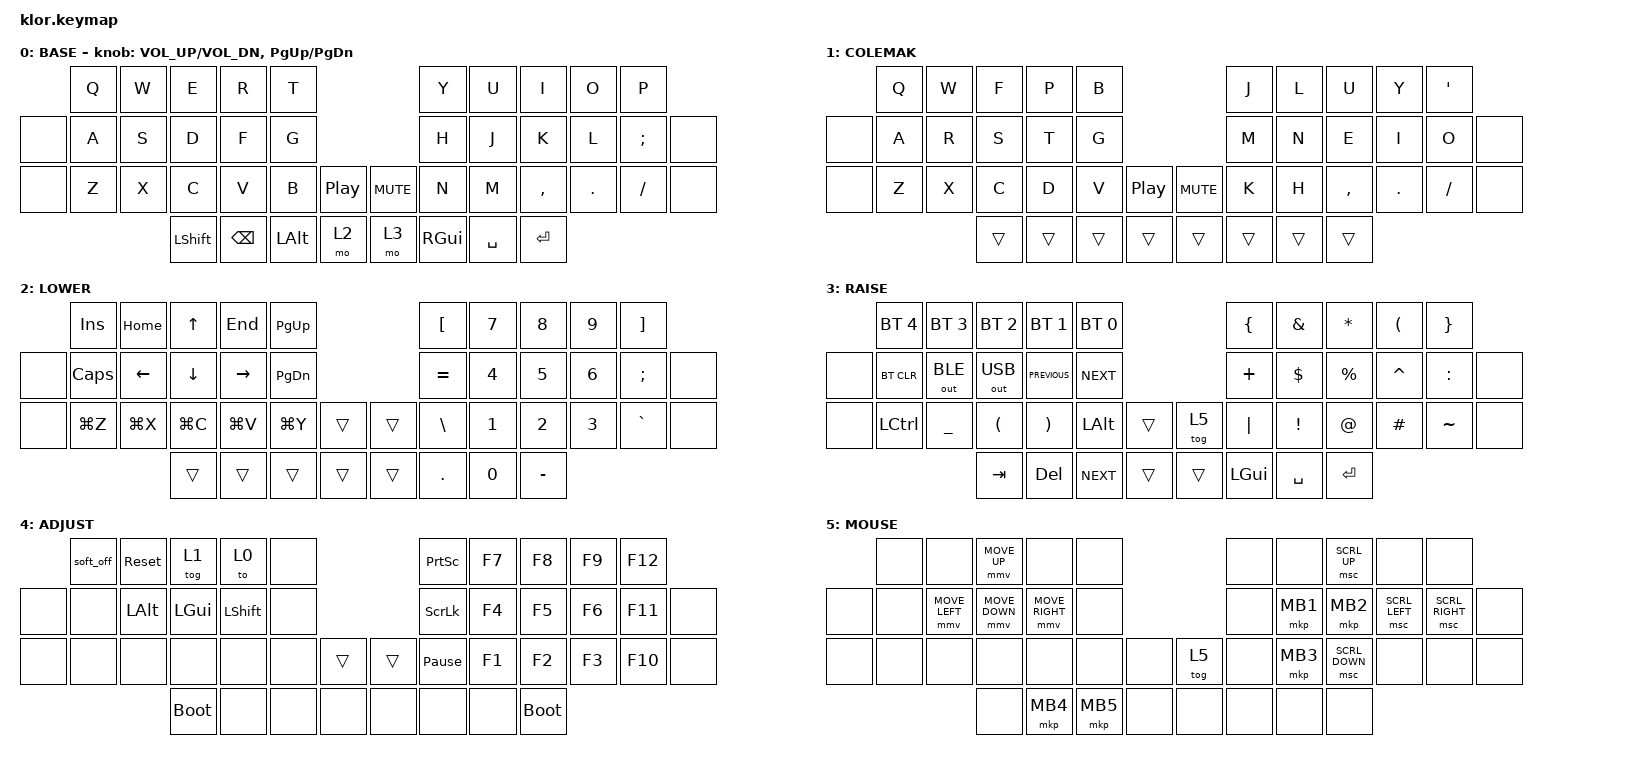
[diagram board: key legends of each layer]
//                               █         █    █            ▄▄▄▀▀▀▀▀▀▄▄▄        █▀▀▀▀▀▀▀▀▀▀█
//                               █        █     █          ▄▀            ▀▄      █          █
//                               █       █      █        ▄▀                ▀▄    █          █
//                               █      █       █        █                  █    █          █
//                               █     █        █       █                    █   █          █
//                               █    █         █       █                    █   █▄▄▄▄▄▄▄▄▄▄█
//                               █   █ █        █       █                    █   █      █
//                               █  █   █       █        █                  █    █       █
//                               █ █     █      █        ▀▄                ▄▀    █        █
//                               ██       █     █          ▀▄            ▄▀      █         █
//                               █         █    █▄▄▄▄▄▄▄▄    ▀▀▀▄▄▄▄▄▄▀▀▀        █          █
//
// ▄▄▄▄▄▄▄▄▄▄▄▄▄▄▄▄▄▄▄▄▄▄▄▄▄▄▄▄▄▄▄▄▄▄▄▄▄▄▄▄▄▄▄▄▄▄▄▄▄▄▄▄▄▄▄▄▄▄▄▄▄▄▄▄▄▄▄▄▄▄▄▄▄▄▄▄▄▄▄▄▄▄▄▄▄▄▄▄▄▄▄▄▄▄▄▄▄▄▄▄▄▄▄▄▄▄▄▄▄▄▄▄▄▄▄▄▄▄▄▄▄▄▄▄▄

#include <behaviors.dtsi>
#include <dt-bindings/zmk/bt.h>
#include <dt-bindings/zmk/keys.h>
#include <dt-bindings/zmk/outputs.h>
#include <dt-bindings/zmk/pointing.h>

#define BASE   0
#define LOWER  1
#define RAISE  2
#define ADJUST 3

&mt {
    tapping-term-ms = <400>;
    quick-tap-ms = <100>;
    flavor = "tap-preferred";
};

/ {
    behaviors {
        hm: homerow_mods {
            compatible = "zmk,behavior-hold-tap";
            label = "HOMEROW_MODS";
            #binding-cells = <2>;
            tapping-term-ms = <350>;
            quick_tap_ms = <0>;
            flavor = "tap-preferred";
            bindings = <&kp>, <&kp>;
        };
    };

    combos {
        compatible = "zmk,combos";

        combo_esc {
            timeout-ms = <50>;
            key-positions = <0 1>;
            bindings = <&kp ESC>;
        };
    };

    keymap {
        compatible = "zmk,keymap";

        // ▄▄▄▄▄▄▄▄▄▄▄▄▄▄▄▄▄▄▄▄▄▄▄▄▄▄▄▄▄▄▄▄▄▄▄▄▄▄▄▄▄▄▄▄▄▄▄▄▄▄▄▄▄▄▄▄▄▄▄▄▄▄▄▄▄▄▄▄▄▄▄▄▄▄▄▄▄▄▄▄▄▄▄▄▄▄▄▄▄▄▄▄▄▄▄▄▄▄▄▄▄▄▄▄▄▄▄▄▄▄▄▄▄▄▄▄▄▄▄▄▄▄▄▄▄▄▄▄▄▄▄▄▄▄▄▄▄▄▄▄▄▄

        base_layer {
            // ┌───────────────────────────────────────────────────────────┐

            label = "BASE";

            // └───────────────────────────────────────────────────────────┘
            /*           ┌─────────┬─────────┬─────────┬─────────┬─────────┐                    ┌─────────┬─────────┬─────────┬─────────┬─────────┐
             │    Q    │    W    │    F    │    P    │    G    │                    │    J    │    L    │    U    │    Y    │    ;    │   
   ┌─────────┼─────────┼─────────┼─────────┼─────────┼─────────┤                    ├─────────┼─────────┼─────────┼─────────┼─────────┼─────────┐
   │   TAB   │    A    │    R    │    S    │    T    │    D    │                    │    H    │    N    │    E    │    I    │    O    │    "    │
   ├─────────┼─────────┼─────────┼─────────┼─────────┼─────────┤╭────────╮╭────────╮├─────────┼─────────┼─────────┼─────────┼─────────┼─────────┤
   │   DEL   │    Z    │    X    │    C    │    V    │    B    ││  MUTE  ││PLY/PSE ││    K    │    M    │    ,    │    .    │    /    │    \    │
   └─────────┴─────────┴─────────┼─────────┼─────────┼─────────┼╰────────╯╰────────╯┼─────────┼─────────┼─────────┼─────────┴─────────┴─────────┘
                                 │  CTRL   │  LOWER  │  SPACE  │   ALT   ││ CMD/WIN │  ENTER  │  RAISE  │  BSPCE  │  
                                 └─────────┴─────────┴─────────┴─────────┘└─────────┴─────────┴─────────┴─────────┘ */

            bindings = <
       &kp Q  &kp W  &kp E           &kp R          &kp T                                       &kp Y          &kp U      &kp I      &kp O    &kp P
&none  &kp A  &kp S  &kp D           &kp F          &kp G                                       &kp H          &kp J      &kp K      &kp L    &kp SEMI  &none
&none  &kp Z  &kp X  &kp C           &kp V          &kp B         &kp C_PLAY_PAUSE  &kp C_MUTE  &kp N          &kp M      &kp COMMA  &kp DOT  &kp FSLH  &none
                     &kp LEFT_SHIFT  &kp BACKSPACE  &kp LEFT_ALT  &mo 2             &mo 3       &kp RIGHT_GUI  &kp SPACE  &kp ENTER
            >;

            sensor-bindings = <&inc_dec_kp C_VOL_UP C_VOL_DN &inc_dec_kp PG_UP PG_DN>;
        };

        COLEMAK {
            label = "COLEMAK";
            bindings = <
       &kp Q  &kp W  &kp F   &kp P   &kp B                                 &kp J   &kp L   &kp U      &kp Y    &kp APOS
&none  &kp A  &kp R  &kp S   &kp T   &kp G                                 &kp M   &kp N   &kp E      &kp I    &kp O     &none
&none  &kp Z  &kp X  &kp C   &kp D   &kp V   &kp C_PLAY_PAUSE  &kp C_MUTE  &kp K   &kp H   &kp COMMA  &kp DOT  &kp FSLH  &none
                     &trans  &trans  &trans  &trans            &trans      &trans  &trans  &trans
            >;
        };

        nav_layer {
            // ┌───────────────────────────────────────────────────────────┐

            label = "LOWER";

            // └───────────────────────────────────────────────────────────┘
            /*           ┌─────────┬─────────┬─────────┬─────────┬─────────┐                    ┌─────────┬─────────┬─────────┬─────────┬─────────┐
             │         │         │    UP   │         │    {    │                    │    }    │    7    │    8    │    9    │    +    │
   ┌─────────┼─────────┼─────────┼─────────┼─────────┼─────────┤                    ├─────────┼─────────┼─────────┼─────────┼─────────┼─────────┐
   │         │         │   LEFT  │  DOWN   │  RIGHT  │    [    │                    │    ]    │    4    │    5    │    6    │    -    │         │
   ├─────────┼─────────┼─────────┼─────────┼─────────┼─────────┤╭────────╮╭────────╮├─────────┼─────────┼─────────┼─────────┼─────────┼─────────┤
   │         │         │   P UP  │ C LOCK  │ P DOWN  │    (    ││        ││        ││    )    │    1    │    2    │    3    │    *    │         │
   └─────────┴─────────┴─────────┼─────────┼─────────┼─────────┼╰────────╯╰────────╯┼─────────┼─────────┼─────────┼─────────┴─────────┴─────────┘
                                 │         │         │         │         ││         │         │    0    │         │  
                                 └─────────┴─────────┴─────────┴─────────┘└─────────┴─────────┴─────────┴─────────┘ */

            bindings = <
       &kp INS    &kp HOME   &kp UP     &kp END    &kp PG_UP                  &kp LEFT_BRACKET  &kp N7        &kp N8        &kp N9        &kp RIGHT_BRACKET
&none  &kp CAPS   &kp LEFT   &kp DOWN   &kp RIGHT  &kp PG_DN                  &kp EQUAL         &kp NUMBER_4  &kp N5        &kp NUMBER_6  &kp SEMICOLON      &none
&none  &kp LG(Z)  &kp LG(X)  &kp LG(C)  &kp LG(V)  &kp LG(Y)  &trans  &trans  &kp BACKSLASH     &kp NUMBER_1  &kp NUMBER_2  &kp NUMBER_3  &kp GRAVE          &none
                             &trans     &trans     &trans     &trans  &trans  &kp PERIOD        &kp N0        &kp MINUS
            >;
        };

        output_layer {
            label = "RAISE";
            bindings = <
       &bt BT_SEL 4  &bt BT_SEL 3    &bt BT_SEL 2          &bt BT_SEL 1           &bt BT_SEL 0                  &kp LEFT_BRACE  &kp AMPERSAND    &kp ASTERISK  &kp LEFT_PARENTHESIS  &kp RIGHT_BRACE
&none  &bt BT_CLR    &out OUT_BLE    &out OUT_USB          &kp C_PREVIOUS         &kp C_NEXT                    &kp PLUS        &kp DOLLAR       &kp PERCENT   &kp CARET             &kp COLON        &none
&none  &kp LCTRL     &kp UNDERSCORE  &kp LEFT_PARENTHESIS  &kp RIGHT_PARENTHESIS  &kp LEFT_ALT  &trans  &tog 5  &kp PIPE        &kp EXCLAMATION  &kp AT_SIGN   &kp HASH              &kp TILDE        &none
                                     &kp TAB               &kp DELETE             &kp C_NEXT    &trans  &trans  &kp LEFT_GUI    &kp SPACE        &kp ENTER
            >;
        };

        number_layer {
            // ┌───────────────────────────────────────────────────────────┐

            label = "ADJUST";

            // └───────────────────────────────────────────────────────────┘
            /*           ┌─────────┬─────────┬─────────┬─────────┬─────────┐                    ┌─────────┬─────────┬─────────┬─────────┬─────────┐
             │         │         │         │         │         │                    │         │         │    Ü    │         │         │
   ┌─────────┼─────────┼─────────┼─────────┼─────────┼─────────┤                    ├─────────┼─────────┼─────────┼─────────┼─────────┼─────────┐
   │    Ä    │         │    ß    │         │         │         │                    │         │         │         │         │    Ö    │         │
   ├─────────┼─────────┼─────────┼─────────┼─────────┼─────────┤╭────────╮╭────────╮├─────────┼─────────┼─────────┼─────────┼─────────┼─────────┤
   │         │         │         │         │         │         ││        ││        ││         │         │         │         │         │         │
   └─────────┴─────────┴─────────┼─────────┼─────────┼─────────┼╰────────╯╰────────╯┼─────────┼─────────┼─────────┼─────────┴─────────┴─────────┘
                                 │ ADJUST  │         │         │         ││         │         │         │         │  
                                 └─────────┴─────────┴─────────┴─────────┘└─────────┴─────────┴─────────┴─────────┘ */

            bindings = <
       &soft_off  &sys_reset  &tog 1       &to 0      &none                  &kp PRINTSCREEN  &kp F7  &kp F8       &kp F9  &kp F12
&none  &none      &kp LALT    &kp LGUI     &kp LSHFT  &none                  &kp SCROLLLOCK   &kp F4  &kp F5       &kp F6  &kp F11  &none
&none  &none      &none       &none        &none      &none  &trans  &trans  &kp PAUSE_BREAK  &kp F1  &kp F2       &kp F3  &kp F10  &none
                              &bootloader  &none      &none  &none   &none   &none            &none   &bootloader
            >;
        };

        mouse {
            label = "MOUSE";
            bindings = <
       &none  &none           &mmv MOVE_UP    &none            &none                    &none  &none     &msc SCRL_UP    &none           &none
&none  &none  &mmv MOVE_LEFT  &mmv MOVE_DOWN  &mmv MOVE_RIGHT  &none                    &none  &mkp MB1  &mkp MB2        &msc SCRL_LEFT  &msc SCRL_RIGHT  &none
&none  &none  &none           &none           &none            &none     &none  &tog 5  &none  &mkp MB3  &msc SCRL_DOWN  &none           &none            &none
                              &none           &mkp MB4         &mkp MB5  &none  &none   &none  &none     &none
            >;
        };
    };

    conditional_layers {
        compatible = "zmk,conditional-layers";

        ADJUST {
            if-layers = <2 3>;
            then-layer = <4>;
        };
    };
};
